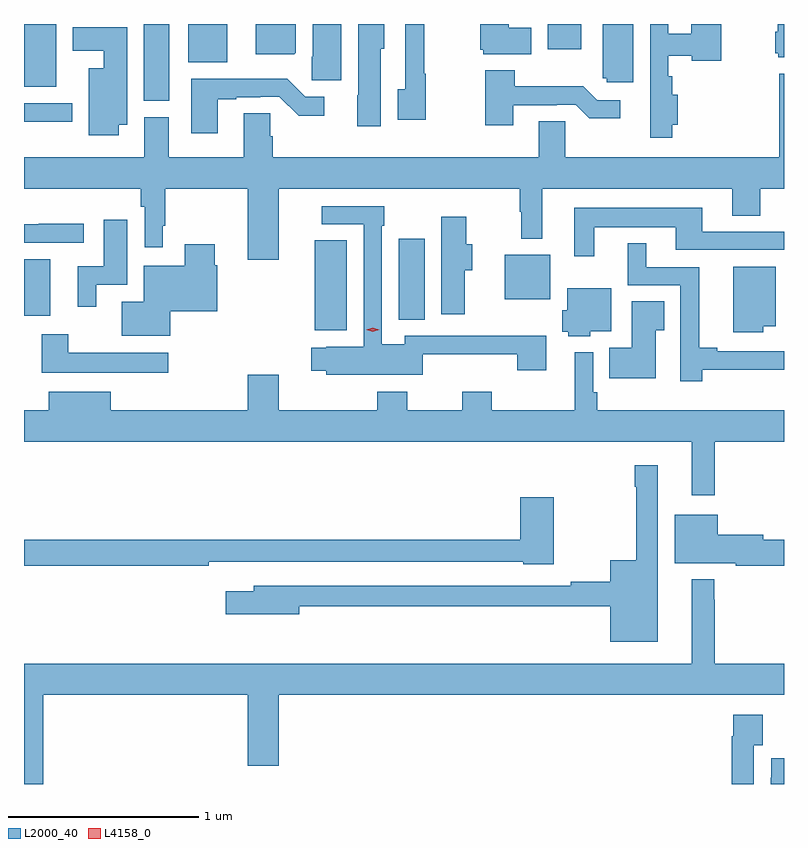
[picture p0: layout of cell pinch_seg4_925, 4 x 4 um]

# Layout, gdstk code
import gdstk
lib = gdstk.Library(unit=1e-6, precision=1e-09)
def R(c, l, rs):  # rectangles x0, y0, x1, y1
    for r in rs: c.add(gdstk.rectangle(r[:2], r[2:], *l))
def P(c, l, *ps):  # polygons
    for p in ps: c.add(gdstk.Polygon(p, *l))
L2000_40 = (2000, 40)
L4158_0 = (4158, 0)

pinch_seg4_925 = lib.new_cell('pinch_seg4_925')
R(pinch_seg4_925, L2000_40, [(680.846,801.401,681.013,801.875), (681.287,801.457,681.424,801.883), (679.315,801.479,679.453,801.775), (681.845,801.566,682.084,801.799), (679.315,802.499,679.57,802.596), (679.946,802.609,680.08,803.014), (679.315,802.685,679.486,803.014), (680.18,802.814,680.386,803.014), (682.071,802.88,682.249,803.014)])
P(pinch_seg4_925, L2000_40, [(681.43,802.753),(681.422,802.753),(681.422,803.014),(681.321,803.014),(681.321,802.67),(681.281,802.67),(681.281,802.509),(681.43,802.509)],
  [(683.315,803.014),(683.282,803.014),(683.282,802.974),(683.27,802.974),(683.27,802.86),(683.286,802.86),(683.286,802.838),(683.315,802.838)],
  [(682.522,803.014),(682.361,803.014),(682.361,802.728),(682.383,802.728),(682.383,802.707),(682.522,802.707)],
  [(682.727,802.484),(682.757,802.484),(682.757,802.642),(682.727,802.642),(682.727,802.739),(682.707,802.739),(682.707,802.847),(682.83,802.847),(682.83,802.82),(682.984,802.82),(682.984,803.014),(682.826,803.014),(682.826,802.964),(682.707,802.964),(682.707,803.014),(682.611,803.014),(682.611,802.638),(682.61,802.638),(682.61,802.416),(682.727,802.416)],
  [(680.746,802.864),(680.746,803.014),(680.534,803.014),(680.534,802.856),(680.738,802.856)],
  [(681.986,802.994),(681.865,802.994),(681.865,803.014),(681.716,803.014),(681.716,802.878),(681.732,802.878),(681.732,802.856),(681.986,802.856)],
  [(681.193,802.884),(681.211,802.884),(681.211,803.014),(681.074,803.014),(681.074,802.638),(681.068,802.638),(681.068,802.476),(681.193,802.476)],
  [(680.986,803.014),(680.834,803.014),(680.834,802.842),(680.83,802.842),(680.83,802.719),(680.986,802.719)],
  [(679.813,802.484),(679.858,802.484),(679.858,802.996),(679.571,802.996),(679.571,802.874),(679.736,802.874),(679.736,802.78),(679.655,802.78),(679.655,802.428),(679.813,802.428)],
  [(681.889,802.587),(682.118,802.587),(682.118,802.59),(682.218,802.59),(682.291,802.517),(682.453,802.517),(682.453,802.614),(682.332,802.614),(682.259,802.687),(681.897,802.687),(681.897,802.771),(681.742,802.771),(681.742,802.482),(681.889,802.482)],
  [(680.471,802.544),(680.471,802.312),(680.077,802.312),(680.077,802.524),(679.949,802.524),(679.949,802.312),(679.315,802.312),(679.315,802.148),(679.93,802.148),(679.93,802.052),(679.95,802.052),(679.95,801.84),(680.046,801.84),(680.046,801.952),(680.059,801.952),(680.059,802.148),(680.492,802.148),(680.492,801.774),(680.656,801.774),(680.656,802.148),(681.925,802.148),(681.925,802.025),(681.933,802.025),(681.933,801.885),(682.042,801.885),(682.042,802.148),(683.042,802.148),(683.042,802.006),(683.19,802.006),(683.19,802.148),(683.315,802.148),(683.315,802.753),(683.291,802.753),(683.291,802.312),(682.164,802.312),(682.164,802.502),(682.025,802.502),(682.025,802.312),(680.624,802.312),(680.624,802.422),(680.61,802.422),(680.61,802.544)],
  [(680.335,802.617),(680.431,802.617),(680.431,802.629),(680.558,802.629),(680.558,802.632),(680.658,802.632),(680.761,802.53),(680.896,802.53),(680.896,802.632),(680.796,802.632),(680.701,802.727),(680.195,802.727),(680.195,802.44),(680.335,802.44)],
  [(681.414,801.275),(681.911,801.275),(681.911,801.192),(682.063,801.192),(682.063,801.372),(681.959,801.372),(681.959,801.374),(681.827,801.374),(681.827,801.372),(681.318,801.372),(681.318,801.328),(681.198,801.328),(681.198,801.953),(681.211,801.953),(681.211,802.056),(680.883,802.056),(680.883,801.96),(681.102,801.96),(681.102,801.316),(680.907,801.316),(680.907,801.31),(680.828,801.31),(680.828,801.188),(680.907,801.188),(680.907,801.167),(681.414,801.167)],
  [(682.315,801.944),(682.745,801.944),(682.745,801.825),(683.315,801.825),(683.315,801.921),(682.885,801.921),(682.885,802.048),(682.211,802.048),(682.211,801.792),(682.315,801.792)],
  [(681.634,801.718),(681.673,801.718),(681.673,801.855),(681.642,801.855),(681.642,802),(681.512,802),(681.512,801.486),(681.634,801.486)],
  [(679.696,801.642),(679.858,801.642),(679.858,801.985),(679.736,801.985),(679.736,801.738),(679.598,801.738),(679.598,801.525),(679.696,801.525)],
  [(679.63,801.962),(679.393,801.962),(679.393,801.96),(679.315,801.96),(679.315,801.864),(679.63,801.864)],
  [(682.886,801.194),(683.315,801.194),(683.315,801.291),(682.963,801.291),(682.963,801.311),(682.868,801.311),(682.868,801.735),(682.591,801.735),(682.591,801.859),(682.493,801.859),(682.493,801.639),(682.77,801.639),(682.77,801.135),(682.886,801.135)],
  [(680.086,801.503),(680.333,801.503),(680.333,801.743),(680.32,801.743),(680.32,801.856),(680.162,801.856),(680.162,801.742),(679.946,801.742),(679.946,801.553),(679.829,801.553),(679.829,801.374),(680.086,801.374)],
  [(683.206,801.422),(683.272,801.422),(683.272,801.736),(683.048,801.736),(683.048,801.392),(683.206,801.392)],
  [(682.296,801.398),(682.405,801.398),(682.405,801.622),(682.175,801.622),(682.175,801.507),(682.148,801.507),(682.148,801.393),(682.179,801.393),(682.179,801.371),(682.296,801.371)],
  [(682.639,801.403),(682.685,801.403),(682.685,801.554),(682.514,801.554),(682.514,801.31),(682.396,801.31),(682.396,801.149),(682.639,801.149)],
  [(680.074,801.283),(679.549,801.283),(679.549,801.382),(679.409,801.382),(679.409,801.179),(680.074,801.179)],
  [(682.951,800.816),(683.315,800.816),(683.315,800.98),(682.331,800.98),(682.331,801.076),(682.311,801.076),(682.311,801.286),(682.214,801.286),(682.214,800.98),(681.777,800.98),(681.777,801.079),(681.622,801.079),(681.622,800.98),(681.333,800.98),(681.333,801.079),(681.173,801.079),(681.173,800.98),(680.656,800.98),(680.656,801.169),(680.492,801.169),(680.492,800.98),(679.771,800.98),(679.771,801.079),(679.445,801.079),(679.445,800.98),(679.315,800.98),(679.315,800.816),(682.829,800.816),(682.829,800.535),(682.951,800.535)],
  [(682.651,800.692),(682.53,800.692),(682.53,800.579),(682.537,800.579),(682.537,800.191),(682.4,800.191),(682.4,800.078),(682.192,800.078),(682.192,800.058),(680.525,800.058),(680.525,800.029),(680.376,800.029),(680.376,799.907),(680.764,799.907),(680.764,799.95),(682.4,799.95),(682.4,799.763),(682.651,799.763)],
  [(680.288,800.184),(681.942,800.184),(681.942,800.171),(682.104,800.171),(682.104,800.524),(681.926,800.524),(681.926,800.3),(679.315,800.3),(679.315,800.164),(680.288,800.164)],
  [(683.315,800.3),(683.206,800.3),(683.206,800.325),(682.966,800.325),(682.966,800.431),(682.739,800.431),(682.739,800.177),(683.062,800.177),(683.062,800.164),(683.315,800.164)],
  [(679.415,799.484),(680.492,799.484),(680.492,799.11),(680.656,799.11),(680.656,799.484),(683.315,799.484),(683.315,799.648),(682.951,799.648),(682.951,799.985),(682.949,799.985),(682.949,800.092),(682.829,800.092),(682.829,799.648),(679.315,799.648),(679.315,799.014),(679.415,799.014)],
  [(683.157,799.218),(683.203,799.218),(683.203,799.378),(683.049,799.378),(683.049,799.265),(683.041,799.265),(683.041,799.014),(683.157,799.014)],
  [(683.315,799.149),(683.247,799.149),(683.247,799.046),(683.246,799.046),(683.246,799.014),(683.315,799.014)])
P(pinch_seg4_925, L4158_0, [(681.15,801.395),(681.115,801.405),(681.115,801.405),(681.115,801.405),(681.15,801.415),(681.185,801.405),(681.185,801.405),(681.185,801.405)])

lib.write_gds('pinch_seg4_925.gds')
